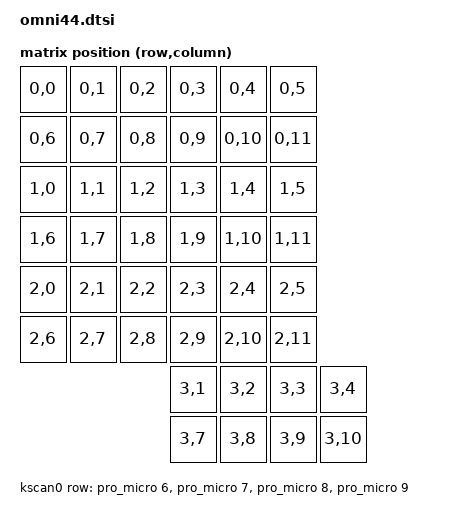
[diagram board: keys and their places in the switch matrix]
/*
 * Omni44 v3 matrix definition.
 *
 * Each half has six columns and four rows. The PCB uses GPIO 1, 0, 2, 3, 4,
 * 5 for columns and GPIO 6, 7, 8, 9 for rows on the nice!nano v2.
 */

#include <dt-bindings/zmk/matrix_transform.h>
#include <zephyr/dt-bindings/input/input-event-codes.h>
#include <physical_layouts.dtsi>

/ {
    chosen {
        zmk,kscan = &kscan0;
        zmk,physical-layout = &omni44_layout;
    };

    omni44_layout: omni44_layout {
        compatible = "zmk,physical-layout";
        display-name = "Omni44";
        transform = <&omni44_transform>;
    };

    omni44_transform: keymap_transform {
        compatible = "zmk,matrix-transform";
        columns = <12>;
        rows = <4>;

        // 12 keys per alpha row, then four thumb keys per half.
        map = <
            RC(0,0)  RC(0,1)  RC(0,2)  RC(0,3)  RC(0,4)  RC(0,5)
            RC(0,6)  RC(0,7)  RC(0,8)  RC(0,9)  RC(0,10) RC(0,11)
            RC(1,0)  RC(1,1)  RC(1,2)  RC(1,3)  RC(1,4)  RC(1,5)
            RC(1,6)  RC(1,7)  RC(1,8)  RC(1,9)  RC(1,10) RC(1,11)
            RC(2,0)  RC(2,1)  RC(2,2)  RC(2,3)  RC(2,4)  RC(2,5)
            RC(2,6)  RC(2,7)  RC(2,8)  RC(2,9)  RC(2,10) RC(2,11)
                                    RC(3,1)  RC(3,2)  RC(3,3)  RC(3,4)
                                    RC(3,7)  RC(3,8)  RC(3,9)  RC(3,10)
        >;
    };

    joystick_buttons: joystick_buttons {
        compatible = "gpio-keys";
        status = "disabled";

        joystick_button: joystick_button {
            label = "Left joystick button";
            gpios = <&pro_micro 20 (GPIO_PULL_UP | GPIO_ACTIVE_LOW)>;
            zephyr,code = <INPUT_BTN_2>;
        };
    };

    joystick_button_listener: joystick_button_listener {
        compatible = "zmk,input-listener";
        status = "disabled";
        device = <&joystick_buttons>;
    };

    joystick_axes: joystick_axes {
        compatible = "gpio-keys";
        status = "disabled";
        debounce-interval-ms = <30>;

        joystick_y: joystick_y {
            label = "Left joystick Y axis";
            gpios = <&gpio1 13 GPIO_ACTIVE_HIGH>;
            zephyr,code = <INPUT_KEY_0>;
        };

        joystick_x: joystick_x {
            label = "Left joystick X axis";
            gpios = <&gpio1 11 GPIO_ACTIVE_HIGH>;
            zephyr,code = <INPUT_KEY_1>;
        };
    };

    joystick_axes_listener: joystick_axes_listener {
        compatible = "zmk,input-listener";
        status = "disabled";
        device = <&joystick_axes>;
    };

    kscan0: kscan {
        compatible = "zmk,kscan-gpio-matrix";
        wakeup-source;
        diode-direction = "col2row";

        row-gpios
            = <&pro_micro 6 (GPIO_ACTIVE_HIGH | GPIO_PULL_DOWN)>
            , <&pro_micro 7 (GPIO_ACTIVE_HIGH | GPIO_PULL_DOWN)>
            , <&pro_micro 8 (GPIO_ACTIVE_HIGH | GPIO_PULL_DOWN)>
            , <&pro_micro 9 (GPIO_ACTIVE_HIGH | GPIO_PULL_DOWN)>
            ;
    };
};
